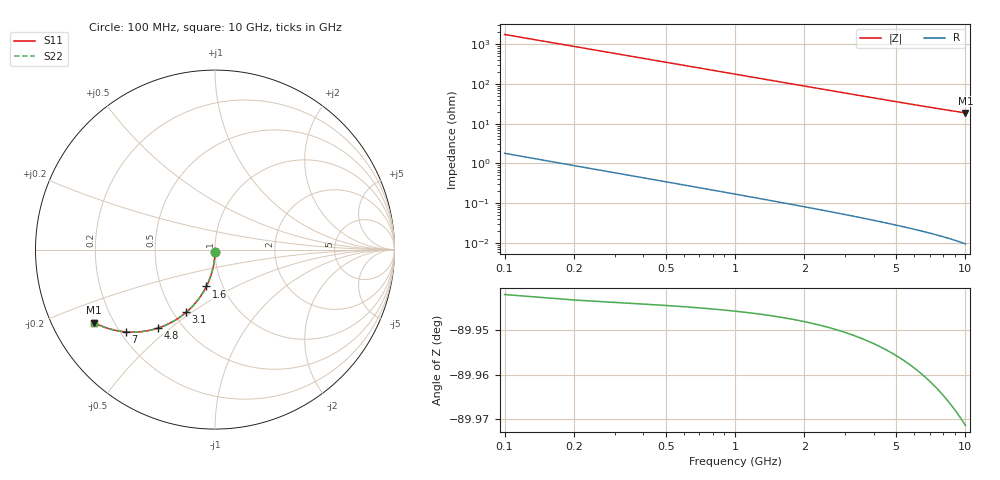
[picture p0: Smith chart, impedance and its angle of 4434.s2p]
# Hz S RI R 50.00
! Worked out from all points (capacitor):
!   100 points, 100 MHz to 10 GHz, reference 50 ohm
!   read as one part in shunt: C = 896 fF near 100 MHz
!   lowest |Z| = 18.7 ohm at 10 GHz (marker M1)
!   S11 on the Smith chart (normalised r, x): 100 MHz: 1.00, -0.03; 1.6 GHz: 0.84, -0.36; 3.1 GHz: 0.58, -0.48; 4.8 GHz: 0.37, -0.45; 7 GHz: 0.22, -0.37; 10 GHz: 0.13, -0.27
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1e8  0.000161 -0.0135  0.9994 -0.0147  0.9994 -0.0147  0.000161 -0.0135
2e8  -0.000443 -0.027  0.9988 -0.0293  0.9988 -0.0293  -0.000443 -0.027
3e8  -0.00144 -0.0404  0.9978 -0.0439  0.9978 -0.0439  -0.00144 -0.0404
4e8  -0.00283 -0.0538  0.9964 -0.0585  0.9964 -0.0585  -0.00283 -0.0538
5e8  -0.00461 -0.0671  0.9946 -0.0729  0.9946 -0.0729  -0.00461 -0.0671
6e8  -0.00677 -0.0804  0.9924 -0.0874  0.9924 -0.0874  -0.00677 -0.0804
7e8  -0.00932 -0.0935  0.9899 -0.1017  0.9899 -0.1017  -0.00932 -0.0935
9e8  -0.0155 -0.1195  0.9837 -0.1299  0.9837 -0.1299  -0.0155 -0.1195
1.2e9  -0.0275 -0.1573  0.9716 -0.1713  0.9716 -0.1713  -0.0275 -0.1573
1.6e9  -0.0481 -0.2051  0.951 -0.2238  0.951 -0.2238  -0.0481 -0.2051
1.8e9  -0.0602 -0.2278  0.9388 -0.2487  0.9388 -0.2487  -0.0602 -0.2278
2.4e9  -0.1025 -0.2896  0.8963 -0.3175  0.8963 -0.3175  -0.1025 -0.2896
3.1e9  -0.1604 -0.349  0.8382 -0.3852  0.8382 -0.3852  -0.1604 -0.349
3.4e9  -0.187 -0.3702  0.8114 -0.4099  0.8114 -0.4099  -0.187 -0.3702
4.1e9  -0.2512 -0.4098  0.7468 -0.4577  0.7468 -0.4577  -0.2512 -0.4098
4.8e9  -0.3157 -0.4366  0.6819 -0.4928  0.6819 -0.4928  -0.3157 -0.4366
5.1e9  -0.3428 -0.4446  0.6546 -0.5044  0.6546 -0.5044  -0.3428 -0.4446
5.9e9  -0.4121 -0.4573  0.5846 -0.5266  0.5846 -0.5266  -0.4121 -0.4573
6.7e9  -0.4759 -0.4594  0.5201 -0.5385  0.5201 -0.5385  -0.4759 -0.4594
7e9  -0.4983 -0.4581  0.4974 -0.5408  0.4974 -0.5408  -0.4983 -0.4581
8.4e9  -0.5907 -0.4406  0.4034 -0.5405  0.4034 -0.5405  -0.5907 -0.4406
1e10  -0.6741 -0.4066  0.3177 -0.5265  0.3177 -0.5265  -0.6741 -0.4066
